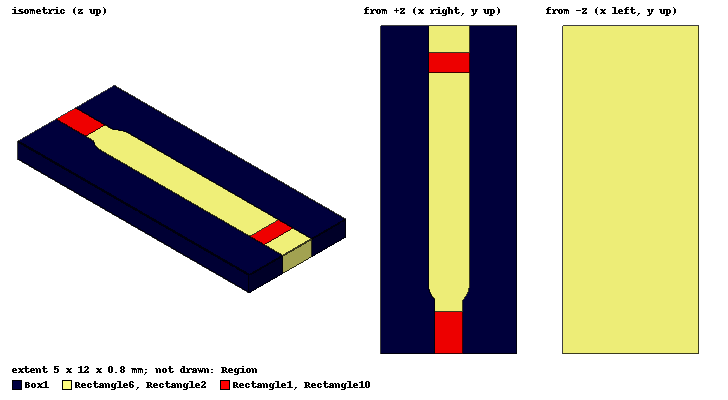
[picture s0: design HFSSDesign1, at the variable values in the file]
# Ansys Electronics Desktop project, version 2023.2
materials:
  vacuum: permittivity=1
  FR4_epoxy: permittivity=4.4 dielectric_loss_tangent=0.02
  air: permittivity=1.0006 permeability=1.0000004

design HFSSDesign1 (HFSS, HFSS Terminal Network, model units mm)
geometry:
  Rectangle1 = rectangle(corner=(0mm, 0mm, 0mm), x_size=1.02mm, y_size=1.53mm)
  Rectangle2 = rectangle(corner=(0mm, 1.53mm, 0mm), x_size=1.02mm, y_size=1mm)
  Circle1 = circle(normal=Z, centre=(0.51mm, 2.53mm, 0mm), radius=0.5mm)
  Circle2 = circle(normal=Z, centre=(0.51mm, 2.53mm, 0mm), radius=(1.49944/2) mm)
  Rectangle3 = rectangle(corner=(-0.23972mm, 2.53mm, 0mm), x_size=1.49944mm, y_size=8.5mm)
  Rectangle2.unite(Circle1, Circle2, Rectangle3)
  Circle5 = circle(normal=Z, centre=(0.51mm, 11.03mm, 0mm), radius=0.74632433mm)
  Rectangle2.subtract(Circle5)
  Box1 [FR4_epoxy] = box(corner=(-2mm, 0mm, 0mm), size=(5mm, 12mm, -0.8mm))
  Region [air] = region(absolute_offset: +X=10mm, -X=10mm, +Y=10mm, -Y=10mm, +Z=10mm, -Z=15mm)
  Rectangle6 = rectangle(corner=(-2mm, 0mm, -0.8mm), x_size=5mm, y_size=12mm)
  Rectangle7 = rectangle(corner=(-0.23632433mm, 11.03mm, 0mm), x_size=1.4963243mm, y_size=-0.75mm)
  Rectangle2.unite(Rectangle7)
  Rectangle8 = rectangle(corner=(-0.23972mm, 11.03mm, 0mm), x_size=1.49944mm, y_size=(-1.49944/2) mm)
  Rectangle2.subtract(Rectangle8)
  Rectangle10 = rectangle(corner=(-0.23972mm, 10.28mm, 0mm), x_size=1.49972mm, y_size=0.75mm)
  Rectangle11 = rectangle(corner=(0mm, 0mm, 0mm), z_size=-0.8mm, x_size=1mm)
  Rectangle6.unite(Rectangle11)
  Rectangle12 = rectangle(corner=(1.26mm, 11.03mm, 0mm), x_size=-1.49944mm, y_size=0.97mm)
  Rectangle13 = rectangle(corner=(-0.23944mm, 12mm, 0mm), z_size=-0.8mm, x_size=1.48944mm)
  Rectangle6.unite(Rectangle13, Rectangle12)
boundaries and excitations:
  Rad1: Radiation Objects=Region
  PerfE1: Perfect E Objects=[Rectangle2, Rectangle6]
  1: Lumped Port Objects=Rectangle1 LumpedPortType=Modal Modes{Mode1{IntLine{(0.51, 0, 0) -> (0.51, 1.53, 0)} CharImp=Zpi RenormImp=50ohm}} Impedance=50ohm
  2: Lumped Port Objects=Rectangle10 LumpedPortType=Modal Modes{Mode1{IntLine{(0.51014, 10.28, 0) -> (0.51014, 11.03, 0)} CharImp=Zpi RenormImp=50ohm}} Impedance=50ohm
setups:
  Setup1: HfssDriven Frequency=868MHz MaxDeltaS=0.02 MaximumPasses=20 MinimumPasses=1 MinimumConvergedPasses=1 PercentRefinement=30 BasisOrder=1 PortAccuracy=2 DrivenSolverType="Direct Solver"
    sweep Sweep: 434MHz to 5GHz, 401 points; Type=Interpolating SaveFields InterpTolerance=0.5 InterpMaxSolns=250 PassivityErrorTolerance=0.0001
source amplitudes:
  1:1: 1V 0deg
  2:1: 0V 0deg
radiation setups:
  Infinite Sphere1: Infinite Sphere Theta=0deg..360deg step 2deg Phi=-180deg..180deg step 2deg
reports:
  Terminal S Parameter Plot 1: dB(St(1,1)) vs Freq on Setup1 : Sweep
  Terminal Z Parameter Plot 1: dB20(Zt(2,1)) vs Freq on Setup1 : Sweep
  Terminal S Parameter Chart 1: St(1,1) on Setup1 : Sweep [Freq=all]
  S Parameter Chart 1: S(1,1) on Setup1 : Sweep [Freq=all]

design Circuit1 (Circuit)
options: SParamCircuitDef IntegrationMethod=FFT
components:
  S3 = HFSSDesign2()
  U8 = Circuit3()
  port Port1 rz=50ohm iz=0ohm EnableNoise=false noisetemp=16.85cel
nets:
  0: S3.2
  net_2: S3.1, U8.1
  Port1: U8.0
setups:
  LinearFrequency: LinearFrequencyData(false, 0.1, false, "", false) SweepDefinition{Variable=Freq Data="LINC 0.4GHz 5GHz 400"}
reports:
  S Parameter Chart 1: S(Port1,Port1) on LinearFrequency : LinearFrequency [Freq=all]
  S-Parameters: S(Port1,Port1) on LinearFrequency : LinearFrequency [Freq=all]
  S Parameter Plot 1: dB(S(Port1,Port1)) vs Freq on LinearFrequency : LinearFrequency
  S Parameter Plot 2: dB(S(Port1,Port1)) vs Freq on LinearFrequency : LinearFrequency
  S-Parameters1: S(Port1,Port1) on LinearFrequency : LinearFrequency [Freq=all]

design Circuit3 (Circuit)
options: SParamCircuitDef IntegrationMethod=FFT
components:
  C9 = CAP_(C=1.05pF)
  C10 = CAP_(C=7.87pF)
  port Port1 rz=50ohm iz=0ohm EnableNoise=false noisetemp=16.85cel
  port Port2 rz=50ohm iz=0ohm EnableNoise=false noisetemp=16.85cel
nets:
  0: C10.1
  Port1: C9.0
  Port2: C10.0, C9.1
